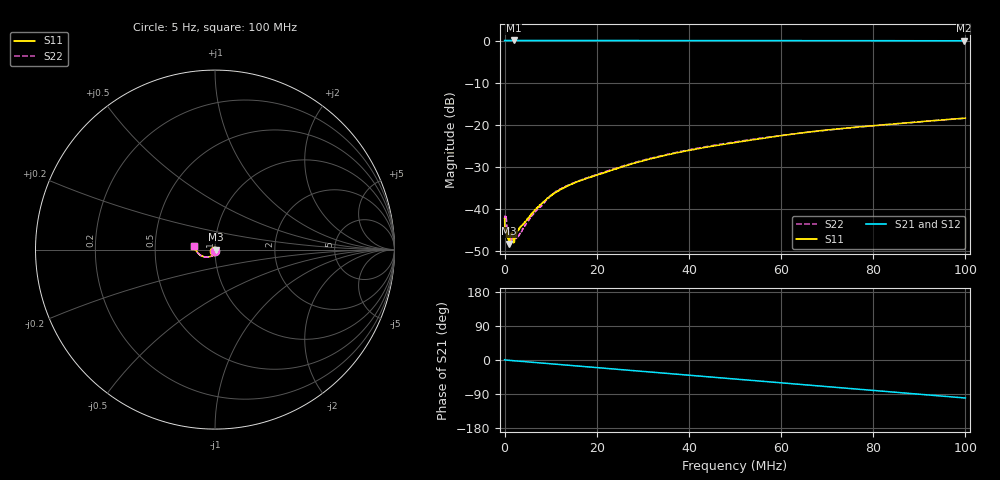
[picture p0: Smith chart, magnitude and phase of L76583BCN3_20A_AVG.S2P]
!Agilent Technologies,E5061B,MY49102235,A.02.00
!Date: Tue Jul 11 15:39:37 2023
!Data & Calibration Information:
!Freq	S11:SOLT2(ON)	S21:SOLT2(ON)	S12:SOLT2(ON)	S22:SOLT2(ON)
# Hz S RI R 50
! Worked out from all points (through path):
!   1600 points, 5 Hz to 100 MHz, reference 50 ohm
!   highest |S21| = 0.02 dB at 1.939 MHz (marker M1); lowest = -0.1 dB at 99.75 MHz (marker M2)
!   group delay of S21, straight-line fit = 2.79 ns
!   lowest |S11| = -48.3 dB at 1.001 MHz (marker M3), VSWR 1.01, Z = 50.4 - j0.0853 ohm
!   |S11| at or under -10 dB: start of sweep to end of sweep
!   |S22| runs from -48.8 to -18.5 dB; largest |S21 - S12| = 0.0027
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5  -0.00527 -0.00564  1.002 0.00795  1 0.0103  -0.00152 -0.00754
437778.6  0.00515 -0.000607  1.001 -0.00538  1.001 -0.00606  0.00661 -0.00225
625395.8  0.00509 -0.000651  1.002 -0.0105  1.002 -0.01  0.0061 -0.00103
1000630  0.00377 -0.000846  1.001 -0.0164  1.001 -0.0159  0.00514 -0.00174
1563482  0.00434 -0.00297  1.001 -0.0265  1.001 -0.0254  0.00314 -0.00355
1938717  0.00311 -0.00243  1.002 -0.0337  1.002 -0.0329  0.00341 -0.00215
2376490  0.00329 -0.0031  0.9999 -0.0413  1 -0.0415  0.00393 -0.00277
3252037  0.00422 -0.00434  0.9994 -0.0568  0.9992 -0.0565  0.00313 -0.00385
4690436  0.00369 -0.00618  0.9977 -0.0819  0.9974 -0.0818  0.00341 -0.00585
6003757  0.00327 -0.00815  0.9955 -0.1048  0.9955 -0.1045  0.00284 -0.00797
9505946  0.00134 -0.0135  0.9872 -0.1659  0.9873 -0.1655  0.000782 -0.0135
1.163227e7  -0.000221 -0.0165  0.9804 -0.2025  0.9801 -0.202  -0.0011 -0.0166
1.669794e7  -0.00418 -0.0216  0.9579 -0.2885  0.9579 -0.288  -0.00451 -0.0217
2.582865e7  -0.0118 -0.0297  0.9 -0.4373  0.8997 -0.437  -0.00966 -0.031
3.333334e7  -0.0209 -0.0359  0.8343 -0.5514  0.8342 -0.5509  -0.0196 -0.0371
4.033771e7  -0.0306 -0.0397  0.7602 -0.6489  0.7602 -0.6485  -0.0302 -0.0409
5.003127e7  -0.0454 -0.0414  0.6394 -0.7679  0.6393 -0.7675  -0.0457 -0.0425
6.672921e7  -0.0754 -0.0346  0.39 -0.918  0.3903 -0.9179  -0.0746 -0.0351
8.33646e7  -0.1003 -0.0121  0.1102 -0.9897  0.1103 -0.9896  -0.0998 -0.0139
9.155722e7  -0.1102 0.00337  -0.0325 -0.9941  -0.0323 -0.9941  -0.1101 0.000537
9.974984e7  -0.1179 0.0208  -0.174 -0.978  -0.1736 -0.9782  -0.1177 0.0181
1e8  -0.118 0.0213  -0.1782 -0.9774  -0.1779 -0.9775  -0.118 0.0188
